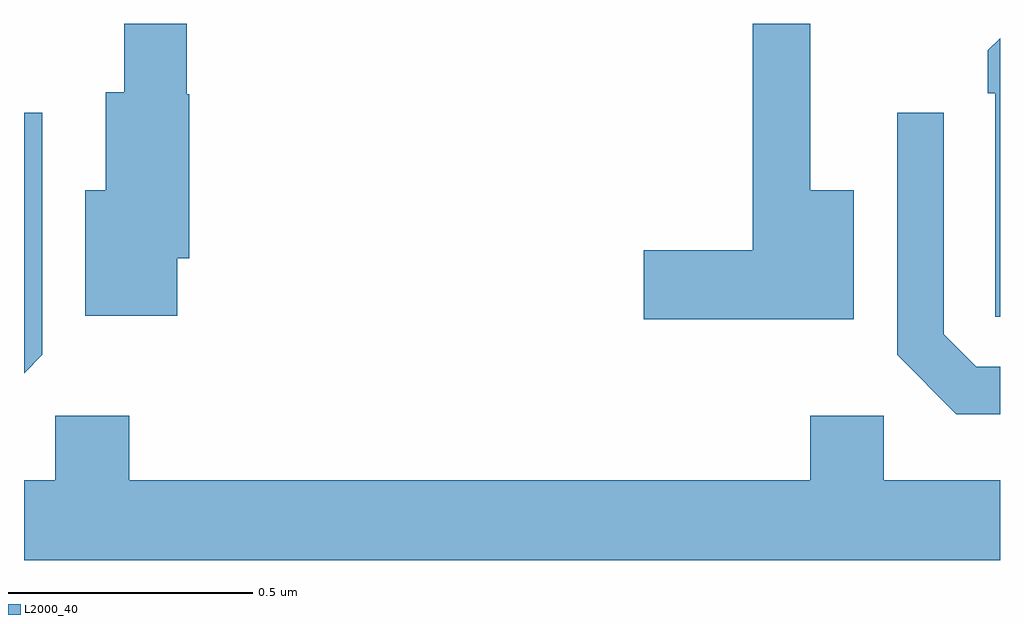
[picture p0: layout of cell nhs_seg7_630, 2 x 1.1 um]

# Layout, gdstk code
import gdstk
lib = gdstk.Library(unit=1e-6, precision=1e-09)
def P(c, l, *ps):  # polygons
    for p in ps: c.add(gdstk.Polygon(p, *l))
L2000_40 = (2000, 40)

nhs_seg7_630 = lib.new_cell('nhs_seg7_630')
P(nhs_seg7_630, L2000_40, [(120.7,1050.658),(120.611,1050.658),(120.611,1051),(120.493,1051),(120.493,1050.536),(120.27,1050.536),(120.27,1050.394),(120.7,1050.394)],
  [(119.314,1050.519),(119.339,1050.519),(119.339,1050.855),(119.333,1050.855),(119.333,1051),(119.205,1051),(119.205,1050.859),(119.168,1050.859),(119.168,1050.658),(119.126,1050.658),(119.126,1050.401),(119.314,1050.401)],
  [(121,1050.97),(120.975,1050.945),(120.975,1050.857),(120.99,1050.857),(120.99,1050.399),(121,1050.399)],
  [(119.037,1050.321),(119.037,1050.817),(119,1050.817),(119,1050.284)],
  [(121,1050.297),(120.951,1050.297),(120.885,1050.363),(120.885,1050.817),(120.789,1050.817),(120.789,1050.321),(120.91,1050.2),(121,1050.2)],
  [(121,1050.064),(120.762,1050.064),(120.762,1050.196),(120.611,1050.196),(120.611,1050.064),(119.216,1050.064),(119.216,1050.196),(119.064,1050.196),(119.064,1050.064),(119,1050.064),(119,1049.9),(121,1049.9)])

lib.write_gds('nhs_seg7_630.gds')
